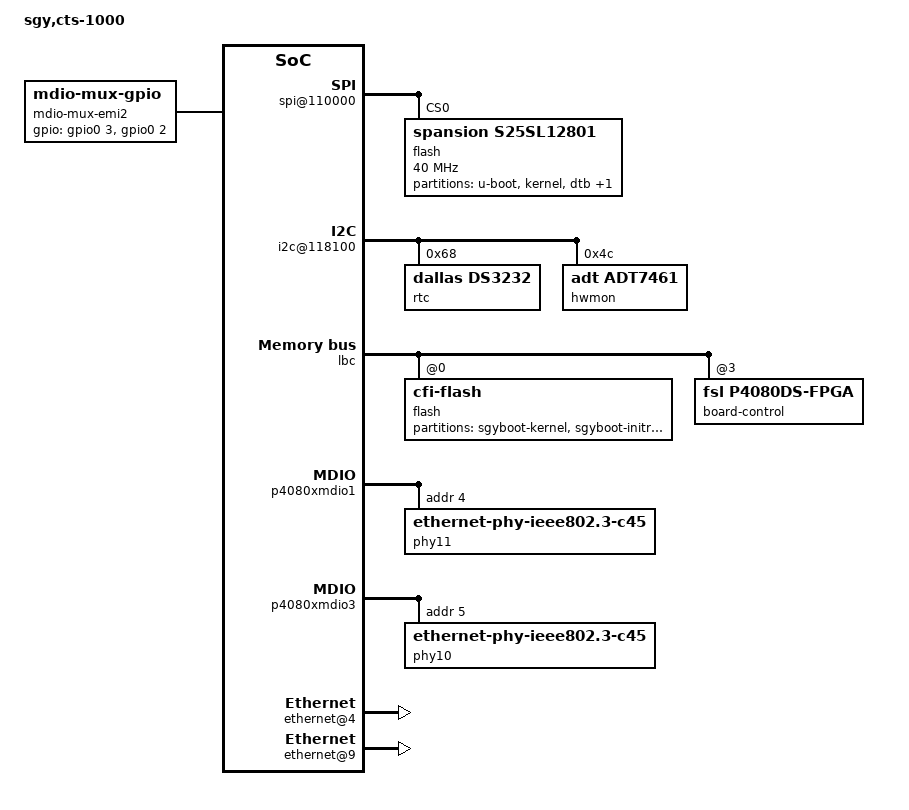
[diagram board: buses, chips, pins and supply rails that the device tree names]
/*
 * Servergy CTS-1000 Device Tree Source
 *
 * Copyright 2009-2012 Freescale Semiconductor Inc.
 * Copyright 2011-2013, 2015 Servergy, Inc.
 *
 * Redistribution and use in source and binary forms, with or without
 * modification, are permitted provided that the following conditions are met:
 *     * Redistributions of source code must retain the above copyright
 *	 notice, this list of conditions and the following disclaimer.
 *     * Redistributions in binary form must reproduce the above copyright
 *	 notice, this list of conditions and the following disclaimer in the
 *	 documentation and/or other materials provided with the distribution.
 *     * Neither the name of Freescale Semiconductor nor the
 *	 names of its contributors may be used to endorse or promote products
 *	 derived from this software without specific prior written permission.
 *
 *
 * ALTERNATIVELY, this software may be distributed under the terms of the
 * GNU General Public License ("GPL") as published by the Free Software
 * Foundation, either version 2 of that License or (at your option) any
 * later version.
 *
 * THIS SOFTWARE IS PROVIDED BY Freescale Semiconductor ``AS IS'' AND ANY
 * EXPRESS OR IMPLIED WARRANTIES, INCLUDING, BUT NOT LIMITED TO, THE IMPLIED
 * WARRANTIES OF MERCHANTABILITY AND FITNESS FOR A PARTICULAR PURPOSE ARE
 * DISCLAIMED. IN NO EVENT SHALL Freescale Semiconductor BE LIABLE FOR ANY
 * DIRECT, INDIRECT, INCIDENTAL, SPECIAL, EXEMPLARY, OR CONSEQUENTIAL DAMAGES
 * (INCLUDING, BUT NOT LIMITED TO, PROCUREMENT OF SUBSTITUTE GOODS OR SERVICES;
 * LOSS OF USE, DATA, OR PROFITS; OR BUSINESS INTERRUPTION) HOWEVER CAUSED AND
 * ON ANY THEORY OF LIABILITY, WHETHER IN CONTRACT, STRICT LIABILITY, OR TORT
 * (INCLUDING NEGLIGENCE OR OTHERWISE) ARISING IN ANY WAY OUT OF THE USE OF THIS
 * SOFTWARE, EVEN IF ADVISED OF THE POSSIBILITY OF SUCH DAMAGE.
 */

/include/ "fsl/p4080si-pre.dtsi"

/ {
	model = "sgy,cts-1000";
	compatible = "fsl,P4080DS";
	#address-cells = <2>;
	#size-cells = <2>;
	interrupt-parent = <&mpic>;

	aliases {
		ethernet4 = &enet4;
		ethernet9 = &enet9;
		emi2_slot4 = &p4080xmdio1;
		emi2_slot5 = &p4080xmdio3;
	};

	memory {
		device_type = "memory";
	};

	dcsr: dcsr@f00000000 {
		ranges = <0x00000000 0xf 0x00000000 0x01008000>;
	};

	bportals: bman-portals@ff4000000 {
		ranges = <0x0 0xf 0xf4000000 0x200000>;
	};

	qportals: qman-portals@ff4200000 {
		ranges = <0x0 0xf 0xf4200000 0x200000>;
	};

	soc: soc@ffe000000 {
		ranges = <0x00000000 0xf 0xfe000000 0x1000000>;
		reg = <0xf 0xfe000000 0 0x00001000>;

		spi@110000 {
			flash@0 {
				#address-cells = <1>;
				#size-cells = <1>;
				compatible = "spansion,s25sl12801";
				reg = <0>;
				spi-max-frequency = <40000000>; /* input clock */
				partition@u-boot {
					label = "u-boot";
					reg = <0x00000000 0x00100000>;
					read-only;
				};
				partition@kernel {
					label = "kernel";
					reg = <0x00100000 0x00500000>;
					read-only;
				};
				partition@dtb {
					label = "dtb";
					reg = <0x00600000 0x00100000>;
					read-only;
				};
				partition@fs {
					label = "file system";
					reg = <0x00700000 0x00900000>;
				};
			};
		};

		i2c@118100 {
			rtc@68 {
				compatible = "dallas,ds3232";
				reg = <0x68>;
				interrupts = <1 1 0 0>;
			};

			hwmon@4c {
				compatible = "adt,adt7461";
				reg = <0x4c>;
			};
		};

                gpio0: gpio@130000 {
			/* Allows powering off the system via GPIO signal. */
			gpio-halt@27 {
				compatible = "sgy,gpio-halt";
				gpios = <&gpio0 27 0>;
				interrupts = <8 1 0 0>;
			};
		};

		usb0: usb@210000 {
			/* phy_type = "ulpi"; */
		};

		usb1: usb@211000 {
			/*
			dr_mode = "host";
			phy_type = "ulpi";
			*/
		};

		fman0: fman@400000 {
			enet4: ethernet@f0000 {
				phy-handle = <&phy10>;
				phy-connection-type = "xgmii";
			};

			xmdio0: mdio@f1000 {
			};
		};

		fman1: fman@500000 {
			enet9: ethernet@f0000 {
				phy-handle = <&phy11>;
				phy-connection-type = "xgmii";
			};
		};
	};

	rio: rapidio@ffe0c0000 {
		reg = <0xf 0xfe0c0000 0 0x11000>;

		port1 {
			ranges = <0 0 0xc 0x20000000 0 0x10000000>;
		};
		port2 {
			ranges = <0 0 0xc 0x30000000 0 0x10000000>;
		};
	};

	lbc: localbus@ffe124000 {
		reg = <0xf 0xfe124000 0 0x1000>;
		ranges = <0 0 0xf 0xe8000000 0x08000000
			  3 0 0xf 0xffdf0000 0x00008000>;

		flash@0,0 {
			compatible = "cfi-flash";
			reg = <0 0 0x08000000>;
			bank-width = <2>;
			device-width = <2>;
			#address-cells = <0x1>;
			#size-cells = <0x1>;

			/* 16M for kernel */
			partition@0 {
				label = "sgyboot-kernel";
				reg = <0x00000000 0x01000000>;
			};
			/* 64M for root fs */
			partition@1 {
				label = "sgyboot-initrd";
				reg = <0x01000000 0x04000000>;
			};
			/* 256K for FMan microcode */
			partition@2 {
				label = "fsl-fman-ucode";
				reg = <0x05000000 0x00040000>;
			};
			/* 256K for Device-tree */
			partition@3 {
				label = "device-tree";
				reg = <0x05040000 0x00040000>;
			};
			/* 128K for u-Boot environment */
			partition@4 {
				label = "u-boot-env";
				reg = <0x05080000 0x00020000>;
			};
			/* 128K Unused */

			/* 1Meg for splash screen in u-boot's UDL driver */
			partition@6 {
				label = "udl-splash";
				reg = <0x050c0000 0x00100000>;
			};

			/* ~44Megs Unused */

			/* 2.5M for u-Boot */
			partition@5 {
				label = "u-boot";
				reg = <0x07D80000 0x00280000>;
			};

			/* The whole flash area */
			partition@20 {
				label = "whole";
				reg = <0x00000000 0x08000000>;
			};
		};

		board-control@3,0 {
			compatible = "fsl,p4080ds-fpga", "fsl,fpga-ngpixis";
			reg = <3 0 0x30>;
		};
	};

	pci0: pcie@ffe200000 {
		reg = <0xf 0xfe200000 0 0x1000>;
		ranges = <0x02000000 0 0xe0000000 0xc 0x00000000 0x0 0x20000000
			  0x01000000 0 0x00000000 0xf 0xf8000000 0x0 0x00010000>;
		pcie@0 {
			ranges = <0x02000000 0 0xe0000000
				  0x02000000 0 0xe0000000
				  0 0x20000000

				  0x01000000 0 0x00000000
				  0x01000000 0 0x00000000
				  0 0x00010000>;
		};
	};

	pci1: pcie@ffe201000 {
		reg = <0xf 0xfe201000 0 0x1000>;
		ranges = <0x02000000 0x0 0xe0000000 0xc 0x20000000 0x0 0x20000000
			  0x01000000 0x0 0x00000000 0xf 0xf8010000 0x0 0x00010000>;
		pcie@0 {
			ranges = <0x02000000 0 0xe0000000
				  0x02000000 0 0xe0000000
				  0 0x20000000

				  0x01000000 0 0x00000000
				  0x01000000 0 0x00000000
				  0 0x00010000>;
		};
	};

	pci2: pcie@ffe202000 {
		reg = <0xf 0xfe202000 0 0x1000>;
		ranges = <0x02000000 0 0xe0000000 0xc 0x40000000 0 0x20000000
			  0x01000000 0 0x00000000 0xf 0xf8020000 0 0x00010000>;
		pcie@0 {
			ranges = <0x02000000 0 0xe0000000
				  0x02000000 0 0xe0000000
				  0 0x20000000

				  0x01000000 0 0x00000000
				  0x01000000 0 0x00000000
				  0 0x00010000>;
		};
	};

	mdio-mux-emi2 {
		compatible = "mdio-mux-gpio";
		gpios = <&gpio0 3 0>, <&gpio0 2 0>;
		mdio-parent-bus = <&xmdio0>;
		#address-cells = <1>;
		#size-cells = <0>;

		p4080xmdio1: mdio@1 {
			reg = <1>;
			#address-cells = <1>;
			#size-cells = <0>;

			phy11: ethernet-phy@0 {
				compatible = "ethernet-phy-ieee802.3-c45";
				reg = <0x4>;
			};
		};

		p4080xmdio3: mdio@3 {
			reg = <3>;
			#address-cells = <1>;
			#size-cells = <0>;

			phy10: ethernet-phy@4 {
				compatible = "ethernet-phy-ieee802.3-c45";
				reg = <0x5>;
			};
		};
        };

	fsl,dpaa {
		compatible = "fsl,p4080-dpaa", "fsl,dpaa";

		ethernet@4 {
			compatible = "fsl,p4080-dpa-ethernet", "fsl,dpa-ethernet";
			fsl,fman-mac = <&enet4>;
		};
		ethernet@9 {
			compatible = "fsl,p4080-dpa-ethernet", "fsl,dpa-ethernet";
			fsl,fman-mac = <&enet9>;
		};
	};
};

/include/ "fsl/p4080si-post.dtsi"
/include/ "fsl/qoriq-dpaa-res1.dtsi"
